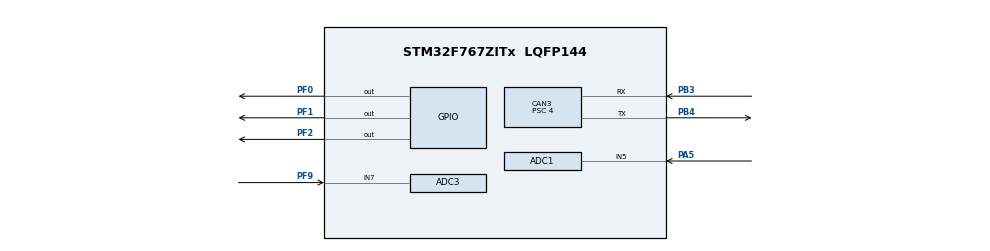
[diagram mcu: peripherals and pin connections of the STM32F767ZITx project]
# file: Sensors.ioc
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ADC1.Channel-0\#ChannelRegularConversion=ADC_CHANNEL_5
ADC1.NbrOfConversionFlag=1
ADC1.Rank-0\#ChannelRegularConversion=1
ADC1.SamplingTime-0\#ChannelRegularConversion=ADC_SAMPLETIME_3CYCLES
ADC1.master=1
CAN3.BS1=CAN_BS1_13TQ
CAN3.BS2=CAN_BS2_2TQ
CAN3.CalculateBaudRate=250000
CAN3.CalculateTimeBit=4000
CAN3.CalculateTimeQuantum=250.0
CAN3.Prescaler=4
I2C2.I2C_Speed_Mode=I2C_Standard
Mcu.Family=STM32F7
Mcu.Name=STM32F767ZITx
Mcu.Package=LQFP144
NVIC.PriorityGroup=NVIC_PRIORITYGROUP_4
PA5.Signal=ADCx_IN5
PB3.Mode=CAN_Activate
PB3.Signal=CAN3_RX
PB4.Mode=CAN_Activate
PB4.Signal=CAN3_TX
PF0.Signal=GPIO_Output
PF1.Signal=GPIO_Output
PF2.Signal=GPIO_Output
PF9.Mode=IN7
PF9.Signal=ADC3_IN7
ProjectManager.HeapSize=0x200
ProjectManager.StackSize=0x400
ProjectManager.TargetToolchain=STM32CubeIDE
RCC.HSE_VALUE=25000000
RCC.HSI_VALUE=16000000
RCC.LSE_VALUE=32768
RCC.USBFreq_Value=96000000
RCC.VCOOutputFreq_Value=192000000
SH.ADCx_IN5.0=ADC1_IN5,IN5
board=custom

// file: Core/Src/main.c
/* USER CODE BEGIN Header */
/**
  ******************************************************************************
  * @file           : main.c
  * @brief          : Main program body
  ******************************************************************************
  * @attention
  *
  * Copyright (c) 2024 STMicroelectronics.
  * All rights reserved.
  *
  * This software is licensed under terms that can be found in the LICENSE file
  * in the root directory of this software component.
  * If no LICENSE file comes with this software, it is provided AS-IS.
  *
  ******************************************************************************
  */
/* USER CODE END Header */
#include "main.h"
#include "adc.h"
#include "can.h"
#include "i2c.h"
#include "adc.h"
#include "gpio.h"

/* USER CODE BEGIN Includes */
#include "can_driver.h"
#include "config.h"
#include "mpu6050.h"
#include "pressure.h"
#include "lim.h"

/* USER CODE END Includes */

void SystemClock_Config(void);

int main(void)
{

  /* MCU Configuration--------------------------------------------------------*/

  /* Reset of all peripherals, Initializes the Flash interface and the Systick. */
  HAL_Init();

  /* Configure the system clock */
  SystemClock_Config();

  /* Initialize all configured peripherals */
  MX_GPIO_Init();
  MX_CAN3_Init();
  MX_I2C2_Init();
  MX_ADC3_Init();
  /* USER CODE BEGIN 2 */
  HAL_CAN_Start(&hcan3);
  MPU6050_Init(hi2c2);
  //configure filters
  uint8_t pressure = 0;
  int16_t x_accel = 0;
  int16_t y_accel = 0;
  int8_t x_gyro = 0;
  int8_t y_gyro = 0;
  int8_t z_gyro = 0;
  uint8_t lim_temps[NUM_THERM_TOTAL];
  uint8_t error_code_1 = 0;
  uint8_t error_code_2 = 0;

  CAN_Frame_t tx_frame = CAN_frame_init(&hcan3, SENSOR_BOARD_1);
  CAN_Frame_t imu_frame = CAN_frame_init(&hcan3, SENSOR_BOARD_2);
  /* USER CODE END 2 */

  /* Infinite loop */
  /* USER CODE BEGIN WHILE */
  while (1)
  {
	  //poll pressure sensor
	  pressure = poll_pressure_sensor();

	  //poll IMU
	  MPU6050_Read_Accel(&x_accel, &y_accel);
	  MPU6050_Read_Gyro(&x_gyro, &y_gyro, &z_gyro);

	  //poll LIM thermistors
	  get_lim_data(lim_temps);

	  //Pack CAN messages
	  CAN_set_segment(&tx_frame, PRESSURE, pressure);
	  CAN_set_segment(&tx_frame, LIM_ONE_TEMP_ONE, lim_temps[0]);
	  CAN_set_segment(&tx_frame, LIM_ONE_TEMP_TWO, lim_temps[1]);
	  CAN_set_segment(&tx_frame, LIM_ONE_TEMP_THREE, lim_temps[2]);
	  CAN_set_segment(&tx_frame, LIM_TWO_TEMP_ONE, lim_temps[3]);
	  CAN_set_segment(&tx_frame, LIM_TWO_TEMP_TWO, lim_temps[4]);
	  CAN_set_segment(&tx_frame, LIM_TWO_TEMP_THREE, lim_temps[5]);
	  CAN_set_segment(&tx_frame, SENSORS_ERROR_CODE_1, error_code_1);

	  CAN_set_segment(&imu_frame, X_ACCEL, x_accel);
	  CAN_set_segment(&imu_frame, Y_ACCEL, y_accel);
	  CAN_set_segment(&imu_frame, X_GYRO, x_gyro);
	  CAN_set_segment(&imu_frame, Y_GYRO, y_gyro);
	  CAN_set_segment(&imu_frame, Z_GYRO, z_gyro);
	  CAN_set_segment(&imu_frame, SENSORS_ERROR_CODE_2, error_code_2);

	  //Send CAN messages
	  if (HAL_CAN_GetTxMailboxesFreeLevel(&hcan3)) {
		  CAN_send_frame(tx_frame);
	  }
	  if (HAL_CAN_GetTxMailboxesFreeLevel(&hcan3)) {
		  CAN_send_frame(imu_frame);
	  }

	  HAL_Delay(500);
    /* USER CODE END WHILE */

  }
}

void SystemClock_Config(void)
{
  RCC_OscInitTypeDef RCC_OscInitStruct = {0};
  RCC_ClkInitTypeDef RCC_ClkInitStruct = {0};

  /** Configure the main internal regulator output voltage
  */
  __HAL_RCC_PWR_CLK_ENABLE();
  __HAL_PWR_VOLTAGESCALING_CONFIG(PWR_REGULATOR_VOLTAGE_SCALE3);

  /** Initializes the RCC Oscillators according to the specified parameters
  * in the RCC_OscInitTypeDef structure.
  */
  RCC_OscInitStruct.OscillatorType = RCC_OSCILLATORTYPE_HSI;
  RCC_OscInitStruct.HSIState = RCC_HSI_ON;
  RCC_OscInitStruct.HSICalibrationValue = RCC_HSICALIBRATION_DEFAULT;
  RCC_OscInitStruct.PLL.PLLState = RCC_PLL_NONE;
  if (HAL_RCC_OscConfig(&RCC_OscInitStruct) != HAL_OK)
  {
    Error_Handler();
  }

  /** Initializes the CPU, AHB and APB buses clocks
  */
  RCC_ClkInitStruct.ClockType = RCC_CLOCKTYPE_HCLK|RCC_CLOCKTYPE_SYSCLK
                              |RCC_CLOCKTYPE_PCLK1|RCC_CLOCKTYPE_PCLK2;
  RCC_ClkInitStruct.SYSCLKSource = RCC_SYSCLKSOURCE_HSI;
  RCC_ClkInitStruct.AHBCLKDivider = RCC_SYSCLK_DIV1;
  RCC_ClkInitStruct.APB1CLKDivider = RCC_HCLK_DIV1;
  RCC_ClkInitStruct.APB2CLKDivider = RCC_HCLK_DIV1;

  if (HAL_RCC_ClockConfig(&RCC_ClkInitStruct, FLASH_LATENCY_0) != HAL_OK)
  {
    Error_Handler();
  }
}

void Error_Handler(void)
{
  __disable_irq();
  while (1)
  {
  }
}
